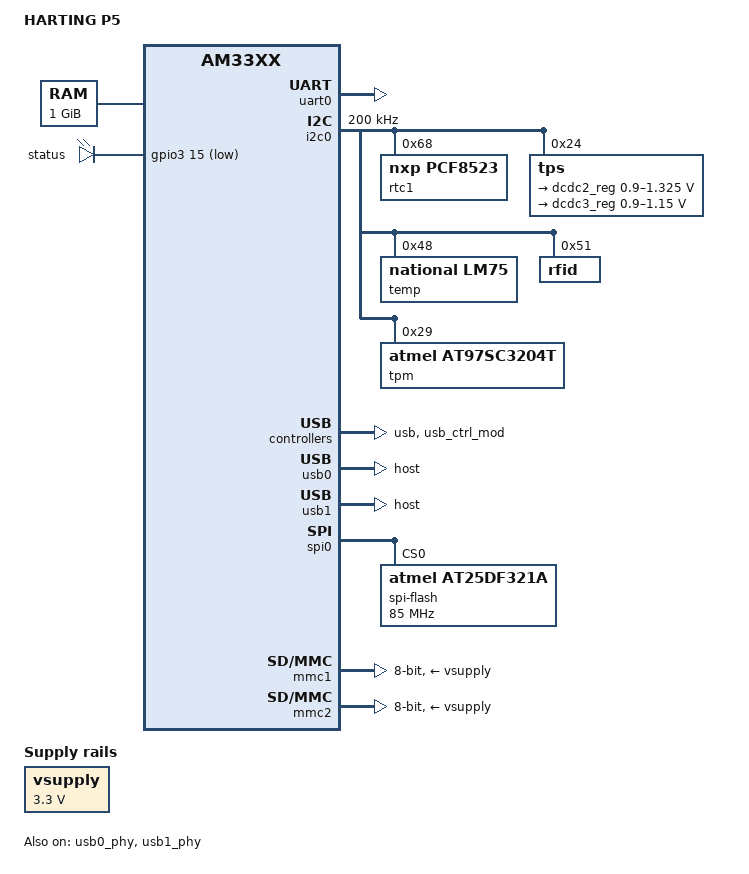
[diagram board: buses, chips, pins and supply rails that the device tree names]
/*
 * Copyright (C) 2017 HARTING Software IT Development GmbH & Co. KG - http://www.harting.com/
 *
 * This program is free software; you can redistribute it and/or modify
 * it under the terms of the GNU General Public License version 2 as
 * published by the Free Software Foundation.
 */
/dts-v1/;

#include "am33xx.dtsi"

/ {
	model = "HARTING P5";
	compatible = "ti,am33xx";

	cpus {
		cpu@0 {
			cpu0-supply = <&dcdc2_reg>;

			/*
			 * To consider voltage drop between PMIC and SoC,
			 * tolerance value is reduced to 2% from 4% and
			 * voltage value is increased as a precaution.
			 */
			operating-points = <
				/* kHz    uV */
				1000000 1325000
				720000  1285000
				600000  1225000
				500000  1125000
				275000  1125000
			>;
		};
	};

	memory {
		device_type = "memory";
		reg = <0x80000000 0x40000000>; /* 512 MB */
	};

	vsupply: fixedregulator@0 {
		compatible = "regulator-fixed";
		regulator-name = "vsupply";
		regulator-min-microvolt = <3300000>;
		regulator-max-microvolt = <3300000>;
		regulator-boot-on;
	};

	leds {
		compatible = "gpio-leds";
		pinctrl-0 = <&status_led_pin>;
		error {
			label = "status";
			gpios = <&gpio3 15 GPIO_ACTIVE_LOW>;
			default-state = "off";
		};
	};

};

&am33xx_pinmux {
	pinctrl-names = "default";

	sdmmc_pins: pinmux_sdmmc_pins {
		pinctrl-single,pins = <
			0x070 (PIN_INPUT | MUX_MODE7) /* GPIO0_30 */
		>;
	};
	
	spi0_pins: pinmux_spi0_pins {
		pinctrl-single,pins = <
			0x150 (PIN_INPUT_PULLUP | MUX_MODE0)	/* spi0_sclk.spi0_sclk */
			0x154 (PIN_INPUT_PULLUP | MUX_MODE0)	/* spi0_d0.spi0_d0 */
			0x158 (PIN_OUTPUT_PULLUP | MUX_MODE0)	/* spi0_d1.spi0_d1 */
			0x15c (PIN_OUTPUT_PULLUP | MUX_MODE0)	/* spi0_cs0.spi0_cs0 */
		>;
	};

	status_led_pin: pinmux_status_led_pin {
                pinctrl-single,pins = <
			0x194 ( PIN_OUTPUT_PULLDOWN | MUX_MODE7 ) /* (B13) mcasp0_fsx.mcasp0_fsx */
                >;
        };
};

&uart0 {
	status = "okay";
};

&i2c0 {
	status = "okay";
	clock-frequency = <200000>;

	rtc1: pcf8523@68 {
		compatible = "nxp,pcf8523";
		reg = <0x68>;
	};

	tps: tps@24 {
		reg = <0x24>;
	};

	temp: lm75@48 {
		compatible = "national,lm75";
		reg = <0x48>;
	};

	rfid: rfid@51 {
		reg = <0x51>;
	};

	tpm: tpm@29 {
		compatible = "atmel,at97sc3204t";
		reg = <0x29>;
		status = "okay";
	};
};

&usb {
	status = "okay";
};

&usb_ctrl_mod {
	status = "okay";
};

&usb0_phy {
	status = "okay";
};

&usb0 {
	status = "okay";
	dr_mode = "host";
};

&usb1_phy {
	status = "okay";
};

&usb1 {
	status = "okay";
	dr_mode = "host";
};

&cppi41dma {
	status = "okay";
};

&spi0 {
	pinctrl-names = "default";
	pinctrl-0 = <&spi0_pins>;
	status = "okay";

	spi-flash@0 {
		#address-cells = <1>;
		#size-cells = <1>;
		compatible = "atmel,at25df321a";
		reg = <0>; /* Chip select 0 */
		spi-max-frequency = <85000000>;
		spi-cpha;
		spi-cpol;

		pagesize = <256>;
		size = <0x400000>;
		address-width = <16>;
		mtd0@00000000 {
				label = "MLO";
				reg = <0x0 0x20000>;
		};
		
		mtd1@00020000 {
				label = "u-boot";
				reg = <0x20000 0x80000>;
		};

		mtd2@000A0000 {
				label = "data";
				reg = <0xA0000 0x80000>;
		};
		mtd3@00120000 {
				label = "user";
				reg = <0x120000 0x2e0000>;
		};
	};
	
};

&mmc1 {
	vmmc-supply = <&vsupply>;
	vmmc_aux-supply = <&vsupply>;
	status = "okay";
	bus-width = <0x8>;
	ti,non-removable;
};

&mmc2 {
	vmmc-supply = <&vsupply>;
	vmmc_aux-supply = <&vsupply>;
	status = "okay";
	bus-width = <8>;
	broken-cd;
	pinctrl-names = "default";
	pinctrl-0 = <&sdmmc_pins>;
};

/*
&mmc2 {
	vmmc-supply = <&vsupply>;
	vmmc_aux-supply = <&vsupply>;
	status = "okay";
	bus-width = <4>;
	pinctrl-names = "default";
	pinctrl-0 = <&sdmmc_pins>;
	cd-gpios = <&gpio0 30 0>;
};
*/

/include/ "tps65217.dtsi"

&tps {
	regulators {
		dcdc1_reg: regulator@0 {
			regulator-always-on;
		};

		dcdc2_reg: regulator@1 {
			/* VDD_MPU voltage limits 0.95V - 1.26V with +/-4% tolerance */
			regulator-name = "vdd_mpu";
			regulator-min-microvolt = <900000>;
			regulator-max-microvolt = <1325000>;
			regulator-boot-on;
			regulator-always-on;
		};

		dcdc3_reg: regulator@2 {
			/* VDD_CORE voltage limits 0.95V - 1.1V with +/-4% tolerance */
			regulator-name = "vdd_core";
			regulator-min-microvolt = <900000>;
			regulator-max-microvolt = <1150000>;
			regulator-boot-on;
			regulator-always-on;
		};

		ldo1_reg: regulator@3 {
			regulator-always-on;
		};

		ldo2_reg: regulator@4 {
			regulator-always-on;
		};

		ldo3_reg: regulator@5 {
			regulator-always-on;
		};

		ldo4_reg: regulator@6 {
			regulator-always-on;
		};
	};
};
